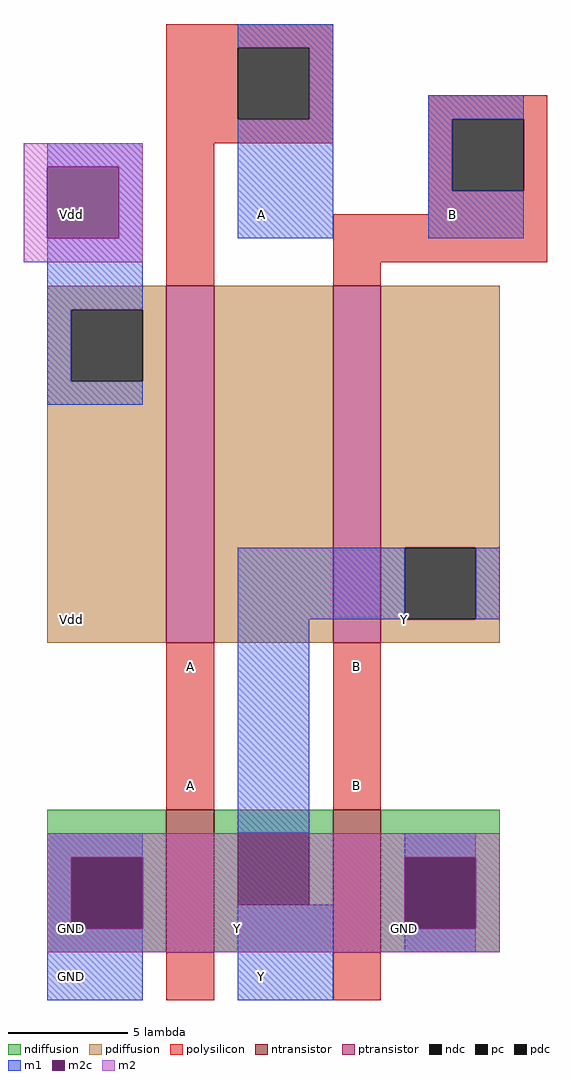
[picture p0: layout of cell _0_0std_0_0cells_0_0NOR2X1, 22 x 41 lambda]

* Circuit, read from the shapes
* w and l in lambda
.subckt _0_0std_0_0cells_0_0NOR2X1 A B GND Vdd Y
M1 Y A GND VSUBS nfet w=6 l=2
M2 GND B Y VSUBS nfet w=6 l=2
M3 n1 A Vdd NWELL pfet w=15 l=2
M4 Y B n1 NWELL pfet w=15 l=2
.ends

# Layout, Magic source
magic
tech sky130l
<< ndiffusion >>
rect 8 10 13 12
rect 8 7 9 10
rect 12 7 13 10
rect 8 6 13 7
rect 15 11 20 12
rect 15 8 16 11
rect 19 8 20 11
rect 15 6 20 8
rect 22 10 27 12
rect 22 7 23 10
rect 26 7 27 10
rect 22 6 27 7
<< ndc >>
rect 9 7 12 10
rect 16 8 19 11
rect 23 7 26 10
<< ntransistor >>
rect 13 6 15 12
rect 20 6 22 12
<< pdiffusion >>
rect 8 33 13 34
rect 8 30 9 33
rect 12 30 13 33
rect 8 19 13 30
rect 15 19 20 34
rect 22 23 27 34
rect 22 20 23 23
rect 26 20 27 23
rect 22 19 27 20
<< pdc >>
rect 9 30 12 33
rect 23 20 26 23
<< ptransistor >>
rect 13 19 15 34
rect 20 19 22 34
<< polysilicon >>
rect 13 44 20 45
rect 13 41 16 44
rect 19 41 20 44
rect 13 40 20 41
rect 24 41 29 42
rect 13 34 15 40
rect 24 38 25 41
rect 28 38 29 41
rect 24 37 29 38
rect 20 35 29 37
rect 20 34 22 35
rect 13 12 15 19
rect 20 12 22 19
rect 13 4 15 6
rect 20 4 22 6
<< pc >>
rect 16 41 19 44
rect 25 38 28 41
<< m1 >>
rect 16 44 20 45
rect 19 41 20 44
rect 8 39 12 40
rect 11 36 12 39
rect 16 36 20 41
rect 24 41 28 42
rect 24 38 25 41
rect 24 36 28 38
rect 8 33 12 36
rect 8 30 9 33
rect 8 29 12 30
rect 16 20 23 23
rect 26 20 27 23
rect 16 11 19 20
rect 8 10 12 11
rect 8 7 9 10
rect 8 4 12 7
rect 23 10 26 11
rect 16 4 20 8
rect 23 6 26 7
<< m2c >>
rect 8 36 11 39
rect 9 7 12 10
rect 23 7 26 10
<< m2 >>
rect 7 39 12 40
rect 7 36 8 39
rect 11 36 12 39
rect 7 35 12 36
rect 8 10 27 11
rect 8 7 9 10
rect 12 7 23 10
rect 26 7 27 10
rect 8 6 27 7
<< labels >>
rlabel ndiffusion 23 7 23 7 3 GND
rlabel pdiffusion 23 20 23 20 3 Y
rlabel polysilicon 21 13 21 13 3 B
rlabel polysilicon 21 18 21 18 3 B
rlabel ndiffusion 16 7 16 7 3 Y
rlabel polysilicon 14 13 14 13 3 A
rlabel polysilicon 14 18 14 18 3 A
rlabel pdiffusion 9 20 9 20 3 Vdd
rlabel m2c 9 37 9 37 3 Vdd
rlabel m1 17 5 17 5 3 Y
rlabel m2 9 7 9 7 3 GND
rlabel m1 9 5 9 5 3 GND
rlabel m1 17 37 17 37 3 A
rlabel m1 25 37 25 37 3 B
<< end >>
